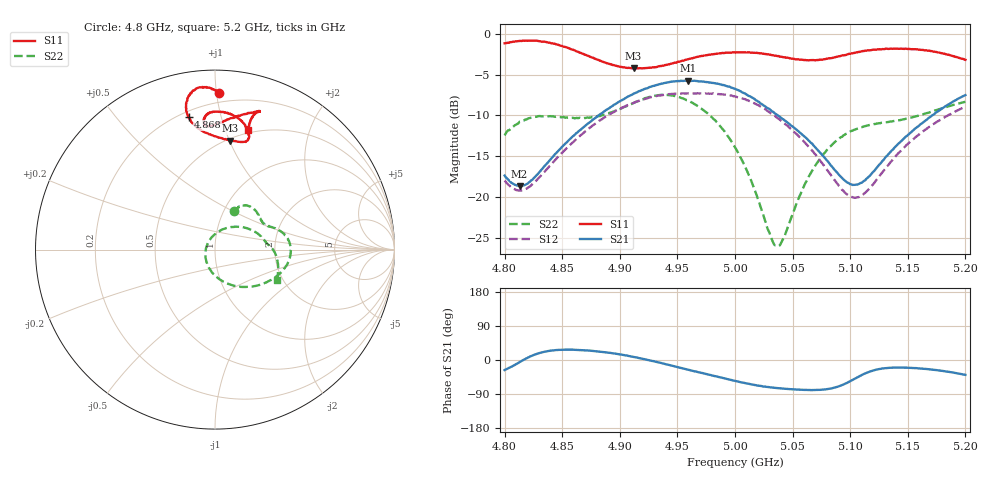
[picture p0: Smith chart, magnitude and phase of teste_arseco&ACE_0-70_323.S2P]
! Network Analyzer HP8722D
! Hewlett-Packard
! Data name: Linha & Wilkinson
! Saver's name: Rodrigo Anjos
! Comments: Teste da utilização de aquisição
! continua pelo VNA HP8722D
! Time and date: 8/5/2025 15:27
!  Frequency  S11  S21  S12  S22
# HZ  S  MA R 50
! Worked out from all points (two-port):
!   401 points, 4.8 GHz to 5.2 GHz, reference 50 ohm
!   highest |S21| = -5.73 dB at 4.959 GHz (marker M1); lowest = -18.6 dB at 4.813 GHz (marker M2)
!   |S21| within 3 dB of the highest: 4.895 GHz to 5.024 GHz (129.8 MHz wide, 2.62 % of centre); 5.184165 GHz to end of sweep
!   lowest |S11| = -4.3 dB at 4.912 GHz (marker M3), VSWR 4.16, Z = 25.9 + j50.3 ohm
!   |S11| at or under -10 dB: nowhere
!   |S22| runs from -26.0 to -7.5 dB; largest |S21 - S12| = 0.89
!   S11 on the Smith chart (normalised r, x): 4.8 GHz: 0.14, +1.02; 4.868 GHz: 0.23, +0.79; 5.2 GHz: 0.47, +1.20
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4.8e9  0.8737 88.5  0.1357 -26.5  0.1264 101.1  0.2388 63.8
4.813e9  0.903 92.1  0.1169 -5.7  0.11 119.2  0.2896 58.4
4.823e9  0.9062 94.9  0.1266 10.4  0.118 134.0  0.3067 52.4
4.844e9  0.8656 99.9  0.1841 26.0  0.1691 149.8  0.3101 40.2
4.867e9  0.7576 101.4  0.2625 26.0  0.242 153.3  0.3051 30.1
4.868e9  0.7535 101.3  0.2667 25.9  0.2457 153.2  0.3041 29.9
4.912e9  0.6127 82.1  0.4297 8.1  0.3773 141.2  0.3774 16.0
4.934e9  0.6317 73.7  0.4908 -6.7  0.4195 128.9  0.4213 2.4
4.959e9  0.6971 75.1  0.5171 -25.4  0.4316 113.3  0.391 -18.5
4.982e9  0.7514 81.4  0.4982 -42.2  0.429 98.8  0.2987 -43.0
5e9  0.7672 87.4  0.4597 -55.1  0.4143 86.0  0.2016 -69.8
5.018e9  0.7631 92.3  0.3922 -66.3  0.3718 73.7  0.1068 -108.5
5.03e9  0.7456 94.2  0.3463 -71.9  0.3304 66.9  0.06056 -154.4
5.036e9  0.7322 94.6  0.3207 -73.9  0.3084 64.1  0.05077 168.6
5.041e9  0.7208 94.9  0.3015 -75.3  0.2906 62.4  0.05434 136.5
5.067e9  0.6906 92.7  0.2125 -79.2  0.1928 57.9  0.1451 58.0
5.083e9  0.7079 87.6  0.1572 -75.4  0.1376 63.4  0.2051 36.5
5.103e9  0.7624 79.2  0.1191 -51.2  0.09945 91.2  0.2575 19.3
5.115e9  0.7894 75.1  0.1313 -32.8  0.1097 112.0  0.2747 12.9
5.134e9  0.8073 72.2  0.1858 -20.6  0.1602 125.8  0.2896 7.3
5.17e9  0.7827 73.8  0.3115 -25.0  0.2735 120.2  0.3331 -2.6
5.2e9  0.6924 74.6  0.4211 -39.2  0.3578 108.6  0.3833 -26.2
